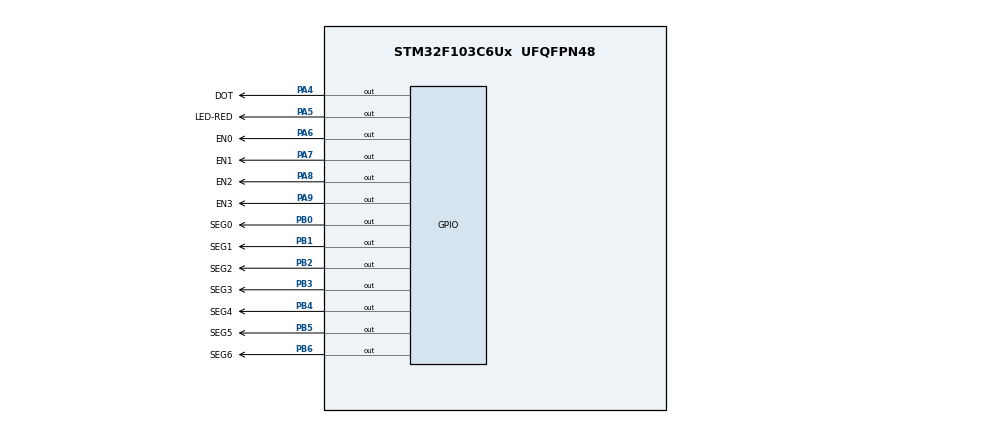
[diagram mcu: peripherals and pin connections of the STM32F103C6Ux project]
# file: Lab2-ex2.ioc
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Mcu.Family=STM32F1
Mcu.Name=STM32F103C6Ux
Mcu.Package=UFQFPN48
NVIC.PriorityGroup=NVIC_PRIORITYGROUP_4
NVIC.TIM2_IRQn=true\:0\:0\:false\:false\:true\:true\:true
PA4.GPIO_Label=DOT
PA4.Signal=GPIO_Output
PA5.GPIO_Label=LED-RED
PA5.Signal=GPIO_Output
PA6.GPIO_Label=EN0
PA6.Signal=GPIO_Output
PA7.GPIO_Label=EN1
PA7.Signal=GPIO_Output
PA8.GPIO_Label=EN2
PA8.Signal=GPIO_Output
PA9.GPIO_Label=EN3
PA9.Signal=GPIO_Output
PB0.GPIO_Label=SEG0
PB0.Signal=GPIO_Output
PB1.GPIO_Label=SEG1
PB1.Signal=GPIO_Output
PB2.GPIO_Label=SEG2
PB2.Signal=GPIO_Output
PB3.GPIO_Label=SEG3
PB3.Signal=GPIO_Output
PB4.GPIO_Label=SEG4
PB4.Signal=GPIO_Output
PB5.GPIO_Label=SEG5
PB5.Signal=GPIO_Output
PB6.GPIO_Label=SEG6
PB6.Signal=GPIO_Output
ProjectManager.HeapSize=0x200
ProjectManager.StackSize=0x400
ProjectManager.TargetToolchain=STM32CubeIDE
RCC.APB1Freq_Value=8000000
RCC.APB2Freq_Value=8000000
TIM2.Period=9
TIM2.Prescaler=7999
VP_SYS_VS_ND.Mode=No_Debug
VP_TIM2_VS_ClockSourceINT.Mode=Internal
board=custom

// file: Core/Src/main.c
/* USER CODE BEGIN Header */
/**
  ******************************************************************************
  * @file           : main.c
  * @brief          : Main program body
  ******************************************************************************
  * @attention
  *
  * <h2><center>&copy; Copyright (c) 2025 STMicroelectronics.
  * All rights reserved.</center></h2>
  *
  * This software component is licensed by ST under BSD 3-Clause license,
  * the "License"; You may not use this file except in compliance with the
  * License. You may obtain a copy of the License at:
  *                        opensource.org/licenses/BSD-3-Clause
  *
  ******************************************************************************
  */
/* USER CODE END Header */
#include "main.h"

TIM_HandleTypeDef htim2;

void SystemClock_Config(void);
static void MX_GPIO_Init(void);
static void MX_TIM2_Init(void);

/* USER CODE BEGIN 0 */
#define TIMER_CYCLE  10

void display7SEG(int num) {
    // Turn off all segment
    HAL_GPIO_WritePin(GPIOB, SEG0_Pin|SEG1_Pin|SEG2_Pin|SEG3_Pin|SEG4_Pin|SEG5_Pin|SEG6_Pin, GPIO_PIN_SET);

    switch (num) {
        case 0:
            HAL_GPIO_WritePin(GPIOB, SEG0_Pin|SEG1_Pin|SEG2_Pin|SEG3_Pin|SEG4_Pin|SEG5_Pin, GPIO_PIN_RESET);
            break;
        case 1:
            HAL_GPIO_WritePin(GPIOB, SEG1_Pin|SEG2_Pin, GPIO_PIN_RESET);
            break;
        case 2:
            HAL_GPIO_WritePin(GPIOB, SEG0_Pin|SEG1_Pin|SEG3_Pin|SEG4_Pin|SEG6_Pin, GPIO_PIN_RESET);
            break;
        case 3:
            HAL_GPIO_WritePin(GPIOB, SEG0_Pin|SEG1_Pin|SEG2_Pin|SEG3_Pin|SEG6_Pin, GPIO_PIN_RESET);
            break;
        case 4:
            HAL_GPIO_WritePin(GPIOB, SEG1_Pin|SEG2_Pin|SEG5_Pin|SEG6_Pin, GPIO_PIN_RESET);
            break;
        case 5:
            HAL_GPIO_WritePin(GPIOB, SEG0_Pin|SEG2_Pin|SEG3_Pin|SEG5_Pin|SEG6_Pin, GPIO_PIN_RESET);
            break;
        case 6:
            HAL_GPIO_WritePin(GPIOB, SEG0_Pin|SEG2_Pin|SEG3_Pin|SEG4_Pin|SEG5_Pin|SEG6_Pin, GPIO_PIN_RESET);
            break;
        case 7:
            HAL_GPIO_WritePin(GPIOB, SEG0_Pin|SEG1_Pin|SEG2_Pin, GPIO_PIN_RESET);
            break;
        case 8:
            HAL_GPIO_WritePin(GPIOB, SEG0_Pin|SEG1_Pin|SEG2_Pin|SEG3_Pin|SEG4_Pin|SEG5_Pin|SEG6_Pin, GPIO_PIN_RESET);
            break;
        case 9:
            HAL_GPIO_WritePin(GPIOB, SEG0_Pin|SEG1_Pin|SEG2_Pin|SEG3_Pin|SEG5_Pin|SEG6_Pin, GPIO_PIN_RESET);
            break;
    }
}
// Timer 1: To scan 4 LED 7 segment (T = 500ms)
int timer1_counter = 0;
int timer1_flag = 0;

// Timer 2: To blink the DOT led (T = 500ms)
int timer2_counter = 0;
int timer2_flag = 0;

void setTimer1(int duration) {
    timer1_counter = duration / TIMER_CYCLE;
    timer1_flag = 0;
}

void setTimer2(int duration) {
    timer2_counter = duration / TIMER_CYCLE;
    timer2_flag = 0;
}

void timerRun() {
    if (timer1_counter > 0) {
        timer1_counter--;
        if (timer1_counter <= 0) {
            timer1_flag = 1;
        }
    }

    if (timer2_counter > 0) {
        timer2_counter--;
        if (timer2_counter <= 0) {
            timer2_flag = 1;
        }
    }
}
/* USER CODE END 0 */

int main(void)
{

  /* MCU Configuration--------------------------------------------------------*/

  /* Reset of all peripherals, Initializes the Flash interface and the Systick. */
  HAL_Init();

  /* Configure the system clock */
  SystemClock_Config();

  /* Initialize all configured peripherals */
  MX_GPIO_Init();
  MX_TIM2_Init();

  HAL_TIM_Base_Start_IT(&htim2);

  setTimer1(500); // Timer for scanning 7-segment LED
  setTimer2(500); // Timer for DOT flashing
  int num = 0;
  while (1) {
	  if (timer1_flag == 1) {
		  // Turn off all LED 7 segment
		  HAL_GPIO_WritePin(EN0_GPIO_Port, EN0_Pin, GPIO_PIN_SET);
		  HAL_GPIO_WritePin(EN1_GPIO_Port, EN1_Pin, GPIO_PIN_SET);
		  HAL_GPIO_WritePin(EN2_GPIO_Port, EN2_Pin, GPIO_PIN_SET);
		  HAL_GPIO_WritePin(EN3_GPIO_Port, EN3_Pin, GPIO_PIN_SET);

		  switch(num) {
			  case 0: // LED 1 displays "1"
				  display7SEG(1);
				  HAL_GPIO_WritePin(EN0_GPIO_Port, EN0_Pin, GPIO_PIN_RESET);
				  break;
			  case 1: // LED 2 displays "2"
				  display7SEG(2);
				  HAL_GPIO_WritePin(EN1_GPIO_Port, EN1_Pin, GPIO_PIN_RESET);
				  break;
			  case 2: // LED 3 displays "3"
				  display7SEG(3);
				  HAL_GPIO_WritePin(EN2_GPIO_Port, EN2_Pin, GPIO_PIN_RESET);
				  break;
			  case 3: // LED 4 displays "0"
				  display7SEG(0);
				  HAL_GPIO_WritePin(EN3_GPIO_Port, EN3_Pin, GPIO_PIN_RESET);
				  break;
		  }

		  // Move to next state (0 -> 1 -> 2 -> 3 -> 0)
		  num++;
		  if (num >= 4) {
			  num = 0;
		  }

		  // set timer 1 for next scan cycle
		  setTimer1(500);
	  }

	  // DOT
	  if (timer2_flag == 1) {
		  // Toggle the state of the DOT light
		  HAL_GPIO_TogglePin(DOT_GPIO_Port, DOT_Pin);

		  // set timer 2 for next flash
		  setTimer2(500);
	  }
  }
  /* USER CODE END 3 */
}

void SystemClock_Config(void)
{
  RCC_OscInitTypeDef RCC_OscInitStruct = {0};
  RCC_ClkInitTypeDef RCC_ClkInitStruct = {0};

  /** Initializes the RCC Oscillators according to the specified parameters
  * in the RCC_OscInitTypeDef structure.
  */
  RCC_OscInitStruct.OscillatorType = RCC_OSCILLATORTYPE_HSI;
  RCC_OscInitStruct.HSIState = RCC_HSI_ON;
  RCC_OscInitStruct.HSICalibrationValue = RCC_HSICALIBRATION_DEFAULT;
  RCC_OscInitStruct.PLL.PLLState = RCC_PLL_NONE;
  if (HAL_RCC_OscConfig(&RCC_OscInitStruct) != HAL_OK)
  {
    Error_Handler();
  }
  /** Initializes the CPU, AHB and APB buses clocks
  */
  RCC_ClkInitStruct.ClockType = RCC_CLOCKTYPE_HCLK|RCC_CLOCKTYPE_SYSCLK
                              |RCC_CLOCKTYPE_PCLK1|RCC_CLOCKTYPE_PCLK2;
  RCC_ClkInitStruct.SYSCLKSource = RCC_SYSCLKSOURCE_HSI;
  RCC_ClkInitStruct.AHBCLKDivider = RCC_SYSCLK_DIV1;
  RCC_ClkInitStruct.APB1CLKDivider = RCC_HCLK_DIV1;
  RCC_ClkInitStruct.APB2CLKDivider = RCC_HCLK_DIV1;

  if (HAL_RCC_ClockConfig(&RCC_ClkInitStruct, FLASH_LATENCY_0) != HAL_OK)
  {
    Error_Handler();
  }
}

static void MX_TIM2_Init(void)
{

  TIM_ClockConfigTypeDef sClockSourceConfig = {0};
  TIM_MasterConfigTypeDef sMasterConfig = {0};

  htim2.Instance = TIM2;
  htim2.Init.Prescaler = 7999;
  htim2.Init.CounterMode = TIM_COUNTERMODE_UP;
  htim2.Init.Period = 9;
  htim2.Init.ClockDivision = TIM_CLOCKDIVISION_DIV1;
  htim2.Init.AutoReloadPreload = TIM_AUTORELOAD_PRELOAD_DISABLE;
  if (HAL_TIM_Base_Init(&htim2) != HAL_OK)
  {
    Error_Handler();
  }
  sClockSourceConfig.ClockSource = TIM_CLOCKSOURCE_INTERNAL;
  if (HAL_TIM_ConfigClockSource(&htim2, &sClockSourceConfig) != HAL_OK)
  {
    Error_Handler();
  }
  sMasterConfig.MasterOutputTrigger = TIM_TRGO_RESET;
  sMasterConfig.MasterSlaveMode = TIM_MASTERSLAVEMODE_DISABLE;
  if (HAL_TIMEx_MasterConfigSynchronization(&htim2, &sMasterConfig) != HAL_OK)
  {
    Error_Handler();
  }

}

static void MX_GPIO_Init(void)
{
  GPIO_InitTypeDef GPIO_InitStruct = {0};

  /* GPIO Ports Clock Enable */
  __HAL_RCC_GPIOA_CLK_ENABLE();
  __HAL_RCC_GPIOB_CLK_ENABLE();

  /*Configure GPIO pin Output Level */
  HAL_GPIO_WritePin(GPIOA, DOT_Pin|LED_RED_Pin|EN0_Pin|EN1_Pin
                          |EN2_Pin|EN3_Pin, GPIO_PIN_RESET);

  /*Configure GPIO pin Output Level */
  HAL_GPIO_WritePin(GPIOB, SEG0_Pin|SEG1_Pin|SEG2_Pin|SEG3_Pin
                          |SEG4_Pin|SEG5_Pin|SEG6_Pin, GPIO_PIN_RESET);

  /*Configure GPIO pins : DOT_Pin LED_RED_Pin EN0_Pin EN1_Pin
                           EN2_Pin EN3_Pin */
  GPIO_InitStruct.Pin = DOT_Pin|LED_RED_Pin|EN0_Pin|EN1_Pin
                          |EN2_Pin|EN3_Pin;
  GPIO_InitStruct.Mode = GPIO_MODE_OUTPUT_PP;
  GPIO_InitStruct.Pull = GPIO_NOPULL;
  GPIO_InitStruct.Speed = GPIO_SPEED_FREQ_LOW;
  HAL_GPIO_Init(GPIOA, &GPIO_InitStruct);

  /*Configure GPIO pins : SEG0_Pin SEG1_Pin SEG2_Pin SEG3_Pin
                           SEG4_Pin SEG5_Pin SEG6_Pin */
  GPIO_InitStruct.Pin = SEG0_Pin|SEG1_Pin|SEG2_Pin|SEG3_Pin
                          |SEG4_Pin|SEG5_Pin|SEG6_Pin;
  GPIO_InitStruct.Mode = GPIO_MODE_OUTPUT_PP;
  GPIO_InitStruct.Pull = GPIO_NOPULL;
  GPIO_InitStruct.Speed = GPIO_SPEED_FREQ_LOW;
  HAL_GPIO_Init(GPIOB, &GPIO_InitStruct);

}

/* USER CODE BEGIN 4 */
void HAL_TIM_PeriodElapsedCallback(TIM_HandleTypeDef *htim) {
        timerRun();
}
/* USER CODE END 4 */

void Error_Handler(void)
{
  __disable_irq();
  while (1)
  {
  }
}

/************************ (C) COPYRIGHT STMicroelectronics *****END OF FILE****/
